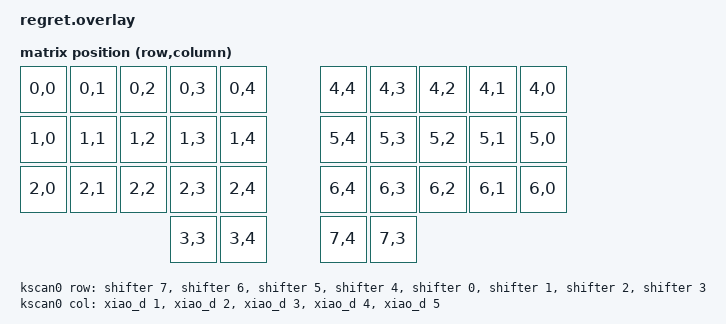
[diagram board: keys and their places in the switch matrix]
#include <dt-bindings/zmk/matrix_transform.h>

&xiao_serial { status = "disabled"; };

&xiao_spi {
    status = "okay";
    cs-gpios = <&xiao_d 9 GPIO_ACTIVE_LOW>;
    shifter: 595@0 {
        compatible = "zmk,gpio-595";
        status = "okay";
        gpio-controller;
        spi-max-frequency = <200000>;
        reg = <0>;
        #gpio-cells = <2>;
        ngpios = <8>;
    };
};

/ {
    chosen {
        zmk,kscan = &kscan0;
        zmk,matrix_transform = &default_transform;
    };

    default_transform: keymap_transform_0 {
        compatible = "zmk,matrix-transform";
        columns = <5>;
        rows = <8>;
        map = <
RC(0,0) RC(0,1) RC(0,2) RC(0,3) RC(0,4) RC(4,4) RC(4,3) RC(4,2) RC(4,1) RC(4,0)
RC(1,0) RC(1,1) RC(1,2) RC(1,3) RC(1,4) RC(5,4) RC(5,3) RC(5,2) RC(5,1) RC(5,0)
RC(2,0) RC(2,1) RC(2,2) RC(2,3) RC(2,4) RC(6,4) RC(6,3) RC(6,2) RC(6,1) RC(6,0)
                        RC(3,3) RC(3,4) RC(7,4) RC(7,3)
        >;
    };

    kscan0: kscan_0 {
        compatible = "zmk,kscan-gpio-matrix";
        diode-direction = "row2col";
        wakeup-source;

        col-gpios
            = <&xiao_d 1 (GPIO_ACTIVE_HIGH | GPIO_PULL_DOWN)>
            , <&xiao_d 2 (GPIO_ACTIVE_HIGH | GPIO_PULL_DOWN)>
            , <&xiao_d 3 (GPIO_ACTIVE_HIGH | GPIO_PULL_DOWN)>
            , <&xiao_d 4 (GPIO_ACTIVE_HIGH | GPIO_PULL_DOWN)>
            , <&xiao_d 5 (GPIO_ACTIVE_HIGH | GPIO_PULL_DOWN)>
            ;

        row-gpios
            = <&shifter 7 GPIO_ACTIVE_HIGH>
            , <&shifter 6 GPIO_ACTIVE_HIGH>
            , <&shifter 5 GPIO_ACTIVE_HIGH>
            , <&shifter 4 GPIO_ACTIVE_HIGH>
            , <&shifter 0 GPIO_ACTIVE_HIGH>
            , <&shifter 1 GPIO_ACTIVE_HIGH>
            , <&shifter 2 GPIO_ACTIVE_HIGH>
            , <&shifter 3 GPIO_ACTIVE_HIGH>
            ;
    };
};
